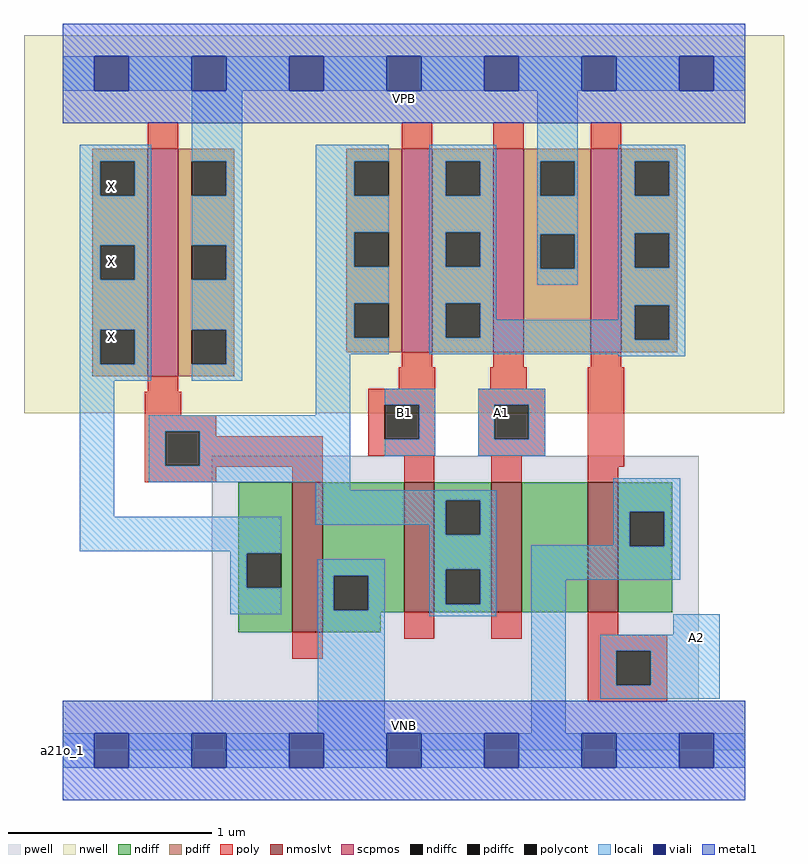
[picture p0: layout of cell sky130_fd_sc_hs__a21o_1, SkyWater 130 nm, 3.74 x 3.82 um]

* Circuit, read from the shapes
.subckt sky130_fd_sc_hs__a21o_1 A1 A2 B1 VGND VNB VPB VPWR X
XM1 VGND n1 X VNB sky130_fd_pr__nfet_01v8_lvt w=0.74 l=0.15
XM2 n1 B1 VGND VNB sky130_fd_pr__nfet_01v8_lvt w=0.64 l=0.15
XM3 n2 A1 n1 VNB sky130_fd_pr__nfet_01v8_lvt w=0.64 l=0.15
XM4 VGND A2 n2 VNB sky130_fd_pr__nfet_01v8_lvt w=0.64 l=0.15
XM5 VPWR n1 X VPB sky130_fd_pr__pfet_01v8 w=1.12 l=0.15
XM6 n3 B1 n1 VPB sky130_fd_pr__pfet_01v8 w=1 l=0.15
XM7 VPWR A1 n3 VPB sky130_fd_pr__pfet_01v8 w=1 l=0.15
XM8 n3 A2 VPWR VPB sky130_fd_pr__pfet_01v8 w=1 l=0.15
.ends

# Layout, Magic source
magic
tech sky130A
magscale 1 2
<< nwell >>
rect -38 332 710 704
<< pwell >>
rect 147 49 626 290
rect 0 0 672 49
<< scpmos >>
rect 84 368 114 592
rect 334 392 364 592
rect 424 392 454 592
rect 520 392 550 592
<< nmoslvt >>
rect 226 116 256 264
rect 336 136 366 264
rect 422 136 452 264
rect 517 136 547 264
<< ndiff >>
rect 173 194 226 264
rect 173 160 181 194
rect 215 160 226 194
rect 173 116 226 160
rect 256 172 336 264
rect 256 138 267 172
rect 301 138 336 172
rect 256 136 336 138
rect 366 246 422 264
rect 366 212 377 246
rect 411 212 422 246
rect 366 178 422 212
rect 366 144 377 178
rect 411 144 422 178
rect 366 136 422 144
rect 452 136 517 264
rect 547 235 600 264
rect 547 201 558 235
rect 592 201 600 235
rect 547 136 600 201
rect 256 116 313 136
<< pdiff >>
rect 29 580 84 592
rect 29 546 37 580
rect 71 546 84 580
rect 29 497 84 546
rect 29 463 37 497
rect 71 463 84 497
rect 29 414 84 463
rect 29 380 37 414
rect 71 380 84 414
rect 29 368 84 380
rect 114 580 169 592
rect 114 546 127 580
rect 161 546 169 580
rect 114 497 169 546
rect 114 463 127 497
rect 161 463 169 497
rect 114 414 169 463
rect 114 380 127 414
rect 161 380 169 414
rect 279 580 334 592
rect 279 546 287 580
rect 321 546 334 580
rect 279 510 334 546
rect 279 476 287 510
rect 321 476 334 510
rect 279 440 334 476
rect 279 406 287 440
rect 321 406 334 440
rect 279 392 334 406
rect 364 580 424 592
rect 364 546 377 580
rect 411 546 424 580
rect 364 510 424 546
rect 364 476 377 510
rect 411 476 424 510
rect 364 440 424 476
rect 364 406 377 440
rect 411 406 424 440
rect 364 392 424 406
rect 454 580 520 592
rect 454 546 470 580
rect 504 546 520 580
rect 454 508 520 546
rect 454 474 470 508
rect 504 474 520 508
rect 454 392 520 474
rect 550 580 605 592
rect 550 546 563 580
rect 597 546 605 580
rect 550 509 605 546
rect 550 475 563 509
rect 597 475 605 509
rect 550 438 605 475
rect 550 404 563 438
rect 597 404 605 438
rect 550 392 605 404
rect 114 368 169 380
<< ndiffc >>
rect 181 160 215 194
rect 267 138 301 172
rect 377 212 411 246
rect 377 144 411 178
rect 558 201 592 235
<< pdiffc >>
rect 37 546 71 580
rect 37 463 71 497
rect 37 380 71 414
rect 127 546 161 580
rect 127 463 161 497
rect 127 380 161 414
rect 287 546 321 580
rect 287 476 321 510
rect 287 406 321 440
rect 377 546 411 580
rect 377 476 411 510
rect 377 406 411 440
rect 470 546 504 580
rect 470 474 504 508
rect 563 546 597 580
rect 563 475 597 509
rect 563 404 597 438
<< poly >>
rect 84 592 114 618
rect 334 592 364 618
rect 424 592 454 618
rect 520 592 550 618
rect 334 377 364 392
rect 424 377 454 392
rect 520 377 550 392
rect 84 353 114 368
rect 331 356 367 377
rect 421 356 457 377
rect 81 330 117 353
rect 301 340 367 356
rect 81 314 151 330
rect 81 280 101 314
rect 135 309 151 314
rect 135 280 256 309
rect 301 306 317 340
rect 351 306 367 340
rect 301 290 367 306
rect 409 340 475 356
rect 409 306 425 340
rect 459 306 475 340
rect 409 290 475 306
rect 81 279 256 280
rect 81 264 151 279
rect 226 264 256 279
rect 336 264 366 290
rect 422 264 452 290
rect 517 279 553 377
rect 517 264 547 279
rect 226 90 256 116
rect 336 110 366 136
rect 422 110 452 136
rect 517 114 547 136
rect 517 98 595 114
rect 517 64 545 98
rect 579 64 595 98
rect 517 48 595 64
<< polycont >>
rect 101 280 135 314
rect 317 306 351 340
rect 425 306 459 340
rect 545 64 579 98
<< locali >>
rect 0 649 31 683
rect 65 649 127 683
rect 161 649 223 683
rect 257 649 319 683
rect 353 649 415 683
rect 449 649 511 683
rect 545 649 607 683
rect 641 649 672 683
rect 17 580 87 596
rect 17 546 37 580
rect 71 546 87 580
rect 17 497 87 546
rect 17 463 37 497
rect 71 463 87 497
rect 17 414 87 463
rect 17 380 37 414
rect 71 380 87 414
rect 17 364 87 380
rect 127 580 177 649
rect 161 546 177 580
rect 127 497 177 546
rect 161 463 177 497
rect 127 414 177 463
rect 161 380 177 414
rect 127 364 177 380
rect 249 580 321 596
rect 249 546 287 580
rect 249 510 321 546
rect 249 476 287 510
rect 249 440 321 476
rect 249 406 287 440
rect 249 390 321 406
rect 361 580 427 596
rect 361 546 377 580
rect 411 546 427 580
rect 361 510 427 546
rect 361 476 377 510
rect 411 476 427 510
rect 361 440 427 476
rect 467 580 507 649
rect 467 546 470 580
rect 504 546 507 580
rect 467 508 507 546
rect 467 474 470 508
rect 504 474 507 508
rect 467 458 507 474
rect 547 580 613 596
rect 547 546 563 580
rect 597 546 613 580
rect 547 509 613 546
rect 547 475 563 509
rect 597 475 613 509
rect 361 406 377 440
rect 411 424 427 440
rect 547 438 613 475
rect 547 424 563 438
rect 411 406 563 424
rect 361 404 563 406
rect 597 404 613 438
rect 361 390 613 404
rect 17 230 51 364
rect 249 330 283 390
rect 547 388 613 390
rect 85 314 283 330
rect 85 280 101 314
rect 135 280 283 314
rect 317 340 367 356
rect 351 306 367 340
rect 317 290 367 306
rect 409 340 475 356
rect 409 306 425 340
rect 459 306 475 340
rect 409 290 475 306
rect 85 264 283 280
rect 249 256 283 264
rect 249 246 427 256
rect 17 196 215 230
rect 249 222 377 246
rect 165 194 215 196
rect 165 160 181 194
rect 361 212 377 222
rect 411 212 427 246
rect 165 134 215 160
rect 251 172 317 188
rect 251 138 267 172
rect 301 138 317 172
rect 251 17 317 138
rect 361 178 427 212
rect 542 235 608 268
rect 542 202 558 235
rect 361 144 377 178
rect 411 144 427 178
rect 361 132 427 144
rect 461 201 558 202
rect 592 201 608 235
rect 461 168 608 201
rect 461 17 495 168
rect 601 114 647 134
rect 529 98 647 114
rect 529 64 545 98
rect 579 64 647 98
rect 529 51 647 64
rect 0 -17 31 17
rect 65 -17 127 17
rect 161 -17 223 17
rect 257 -17 319 17
rect 353 -17 415 17
rect 449 -17 511 17
rect 545 -17 607 17
rect 641 -17 672 17
<< viali >>
rect 31 649 65 683
rect 127 649 161 683
rect 223 649 257 683
rect 319 649 353 683
rect 415 649 449 683
rect 511 649 545 683
rect 607 649 641 683
rect 31 -17 65 17
rect 127 -17 161 17
rect 223 -17 257 17
rect 319 -17 353 17
rect 415 -17 449 17
rect 511 -17 545 17
rect 607 -17 641 17
<< metal1 >>
rect 0 683 672 715
rect 0 649 31 683
rect 65 649 127 683
rect 161 649 223 683
rect 257 649 319 683
rect 353 649 415 683
rect 449 649 511 683
rect 545 649 607 683
rect 641 649 672 683
rect 0 617 672 649
rect 0 17 672 49
rect 0 -17 31 17
rect 65 -17 127 17
rect 161 -17 223 17
rect 257 -17 319 17
rect 353 -17 415 17
rect 449 -17 511 17
rect 545 -17 607 17
rect 641 -17 672 17
rect 0 -49 672 -17
<< labels >>
rlabel comment s 0 0 0 0 4 a21o_1
flabel pwell s 0 0 672 49 0 FreeSans 200 0 0 0 VNB
port 5 nsew ground bidirectional
flabel nwell s 0 617 672 666 0 FreeSans 200 0 0 0 VPB
port 6 nsew power bidirectional
flabel metal1 s 0 617 672 666 0 FreeSans 340 0 0 0 VPWR
port 7 nsew power bidirectional
flabel metal1 s 0 0 672 49 0 FreeSans 340 0 0 0 VGND
port 4 nsew ground bidirectional
flabel locali s 31 390 65 424 0 FreeSans 340 0 0 0 X
port 8 nsew signal output
flabel locali s 31 464 65 498 0 FreeSans 340 0 0 0 X
port 8 nsew signal output
flabel locali s 31 538 65 572 0 FreeSans 340 0 0 0 X
port 8 nsew signal output
flabel locali s 415 316 449 350 0 FreeSans 340 0 0 0 A1
port 1 nsew signal input
flabel locali s 319 316 353 350 0 FreeSans 340 0 0 0 B1
port 3 nsew signal input
flabel locali s 607 94 641 128 0 FreeSans 340 0 0 0 A2
port 2 nsew signal input
<< properties >>
string LEFsite unit
string LEFclass CORE
string FIXED_BBOX 0 0 672 666
string GDS_FILE $PDKPATH/libs.ref/sky130_fd_sc_hs/gds/sky130_fd_sc_hs.gds
string LEFsymmetry X Y
string GDS_END 1605192
string GDS_START 1598792
<< end >>
